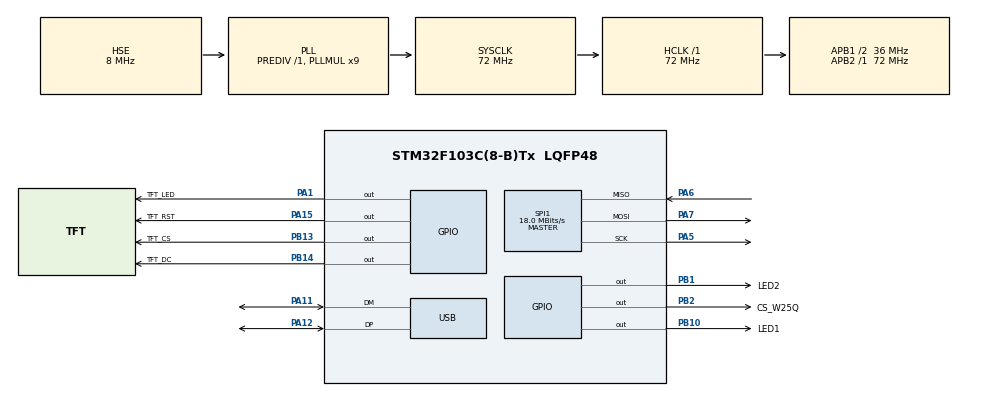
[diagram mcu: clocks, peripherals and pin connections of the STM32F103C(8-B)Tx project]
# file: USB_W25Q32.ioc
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Dma.Request0=SPI1_TX
Dma.SPI1_TX.0.Direction=DMA_MEMORY_TO_PERIPH
Dma.SPI1_TX.0.Instance=DMA1_Channel3
Dma.SPI1_TX.0.MemDataAlignment=DMA_MDATAALIGN_BYTE
Dma.SPI1_TX.0.MemInc=DMA_MINC_ENABLE
Dma.SPI1_TX.0.Mode=DMA_NORMAL
Dma.SPI1_TX.0.PeriphDataAlignment=DMA_PDATAALIGN_BYTE
Dma.SPI1_TX.0.PeriphInc=DMA_PINC_DISABLE
Dma.SPI1_TX.0.Priority=DMA_PRIORITY_LOW
Mcu.Family=STM32F1
Mcu.Name=STM32F103C(8-B)Tx
Mcu.Package=LQFP48
NVIC.DMA1_Channel3_IRQn=true\:0\:0\:false\:false\:true\:false\:true
NVIC.PriorityGroup=NVIC_PRIORITYGROUP_4
NVIC.USB_LP_CAN1_RX0_IRQn=true\:0\:0\:false\:false\:true\:false\:true
PA1.GPIO_Label=TFT_LED
PA1.Signal=GPIO_Output
PA11.Mode=Device
PA11.Signal=USB_DM
PA12.Mode=Device
PA12.Signal=USB_DP
PA13.Mode=Trace_Asynchronous_SW
PA13.Signal=SYS_JTMS-SWDIO
PA14.Mode=Trace_Asynchronous_SW
PA14.Signal=SYS_JTCK-SWCLK
PA15.GPIO_Label=TFT_RST
PA15.PinState=GPIO_PIN_SET
PA15.Signal=GPIO_Output
PA5.Mode=Full_Duplex_Master
PA5.Signal=SPI1_SCK
PA6.Mode=Full_Duplex_Master
PA6.Signal=SPI1_MISO
PA7.Mode=Full_Duplex_Master
PA7.Signal=SPI1_MOSI
PB1.GPIO_Label=LED2
PB1.PinState=GPIO_PIN_SET
PB1.Signal=GPIO_Output
PB10.GPIO_Label=LED1
PB10.PinState=GPIO_PIN_SET
PB10.Signal=GPIO_Output
PB13.GPIO_Label=TFT_CS
PB13.GPIO_PuPd=GPIO_PULLUP
PB13.GPIO_Speed=GPIO_SPEED_FREQ_HIGH
PB13.PinState=GPIO_PIN_SET
PB13.Signal=GPIO_Output
PB14.GPIO_Label=TFT_DC
PB14.GPIO_PuPd=GPIO_PULLUP
PB14.GPIO_Speed=GPIO_SPEED_FREQ_HIGH
PB14.PinState=GPIO_PIN_SET
PB14.Signal=GPIO_Output
PB2.GPIO_Label=CS_W25Q
PB2.GPIO_PuPd=GPIO_PULLUP
PB2.GPIO_Speed=GPIO_SPEED_FREQ_HIGH
PB2.PinState=GPIO_PIN_SET
PB2.Signal=GPIO_Output
PB3.Mode=Trace_Asynchronous_SW
PB3.Signal=SYS_JTDO-TRACESWO
PD0-OSC_IN.Mode=HSE-External-Oscillator
PD0-OSC_IN.Signal=RCC_OSC_IN
PD1-OSC_OUT.Mode=HSE-External-Oscillator
PD1-OSC_OUT.Signal=RCC_OSC_OUT
ProjectManager.HeapSize=0x200
ProjectManager.StackSize=0x400
ProjectManager.TargetToolchain=STM32CubeIDE
RCC.AHBFreq_Value=72000000
RCC.APB1CLKDivider=RCC_HCLK_DIV2
RCC.APB1Freq_Value=36000000
RCC.APB1TimFreq_Value=72000000
RCC.APB2Freq_Value=72000000
RCC.APB2TimFreq_Value=72000000
RCC.HCLKFreq_Value=72000000
RCC.PLLMUL=RCC_PLL_MUL9
RCC.PLLSourceVirtual=RCC_PLLSOURCE_HSE
RCC.SYSCLKFreq_VALUE=72000000
RCC.SYSCLKSource=RCC_SYSCLKSOURCE_PLLCLK
RCC.USBFreq_Value=48000000
RCC.USBPrescaler=RCC_USBCLKSOURCE_PLL_DIV1_5
SPI1.BaudRatePrescaler=SPI_BAUDRATEPRESCALER_4
SPI1.CalculateBaudRate=18.0 MBits/s
SPI1.Direction=SPI_DIRECTION_2LINES
SPI1.Mode=SPI_MODE_MASTER
SPI1.VirtualType=VM_MASTER
USB_DEVICE.CLASS_NAME_FS=MSC
USB_DEVICE.MANUFACTURER_STRING=Pav2000
USB_DEVICE.MSC_MEDIA_PACKET=512
USB_DEVICE.USBD_MAX_STR_DESC_SIZ=512
USB_DEVICE.VirtualMode=Msc
USB_DEVICE.VirtualModeFS=Msc_FS
VP_USB_DEVICE_VS_USB_DEVICE_MSC_FS.Mode=MSC_FS
board=custom

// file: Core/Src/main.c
/* USER CODE BEGIN Header */
/**
  ******************************************************************************
  * @file           : main.c
  * @brief          : Main program body
  ******************************************************************************
  * @attention
  *
  * <h2><center>&copy; Copyright (c) 2022 STMicroelectronics.
  * All rights reserved.</center></h2>
  *
  * This software component is licensed by ST under BSD 3-Clause license,
  * the "License"; You may not use this file except in compliance with the
  * License. You may obtain a copy of the License at:
  *                        opensource.org/licenses/BSD-3-Clause
  *
  ******************************************************************************
  */
/* USER CODE END Header */
#include "main.h"
#include "usb_device.h"

/* USER CODE BEGIN Includes */
#include "w25q.h"
/* USER CODE END Includes */

SPI_HandleTypeDef hspi1;
DMA_HandleTypeDef hdma_spi1_tx;
void USB_Reset(void);

void SystemClock_Config(void);
static void MX_GPIO_Init(void);
static void MX_DMA_Init(void);
static void MX_SPI1_Init(void);

/* USER CODE BEGIN 0 */
// Специальная команда для стирания сектора
void _w25qEraseSector(uint32_t sector) {
   w25qSetBlockProtect(0x00);
   sector = (sector << 4);  // Отличие

   uint8_t com = W25Q_WRITE_ENABLE;
   uint8_t temp[4] = { W25Q_SECTOR_ERASE_4, (uint8_t) (sector >> 8),
         (uint8_t) (sector & 0x00FF), 0x00 };

   W25Q_CS_LO();
   HAL_SPI_Transmit(W25Q_SPI, &com, 1, 10);
   W25Q_CS_HI();

   W25Q_CS_LO();
   HAL_SPI_Transmit(W25Q_SPI, temp, 4, 10);
   W25Q_CS_HI();

   w25qWaitForReady();

   temp[0] = W25Q_WRRITE_DISABLE;

   W25Q_CS_LO();
   HAL_SPI_Transmit(W25Q_SPI, temp, 1, 10);
   W25Q_CS_HI();

   w25qSetBlockProtect(0x0F);
}
// запись через USB - стираем сектор восстанавливаем и пишем
void w25qWritingByUSB(uint16_t dpagenum, uint8_t *bufByUSB) {

   uint8_t current_sector_buf[4096];
   uint16_t current_sector_addr = dpagenum / 8;
   uint16_t startPage = current_sector_addr * 16;
   int offset = 512 * (dpagenum % 8);

   for (uint16_t i = 0; i < 16; i++) {
      w25qReadPage(current_sector_buf + 256 * i, startPage + i);
   }

   memcpy(current_sector_buf + offset, bufByUSB, 512);

   _w25qEraseSector(current_sector_addr);

   startPage = current_sector_addr * 16;

   for (uint16_t i = 0; i < 16; i++) {
      uint8_t buf[256];
      memcpy(buf, current_sector_buf + i * 256, 256);
      w25qWritePage(buf, startPage + i);
   }
}
/* USER CODE END 0 */

int main(void)
{

  /* MCU Configuration--------------------------------------------------------*/

  /* Reset of all peripherals, Initializes the Flash interface and the Systick. */
  HAL_Init();

  /* Configure the system clock */
  SystemClock_Config();

  /* Initialize all configured peripherals */
  MX_GPIO_Init();
  MX_USB_DEVICE_Init();
  MX_DMA_Init();
  MX_SPI1_Init();
  /* USER CODE BEGIN 2 */
   ST7735_Init();          // Не забываем в кубе настроить DMA
   ST7735_Backlight_On(); // Включить подсветку дисплея
   ST7735_SetRotation(3);
   ST7735_FillScreen(ST7735_BLACK);

   ST7735_DrawString(0, STR_H*1, "Hardware version:", Font_7x10, ST7735_WHITE, ST7735_BLACK);
   ST7735_DrawString(130,STR_H*1, HARDWARE, Font_7x10, ST7735_RED, ST7735_BLACK);
   ST7735_DrawString(0, STR_H*2, "Program version:", Font_7x10, ST7735_WHITE, ST7735_BLACK);
   ST7735_DrawString(130, STR_H*2, VERSION, Font_7x10, ST7735_RED, ST7735_BLACK);

   ST7735_DrawString(0, STR_H*4, "USB Mass Storage Class", Font_7x10, ST7735_WHITE, ST7735_BLACK);
   ST7735_DrawString(0, STR_H*5, "Flash chip w25q32 4MB", Font_7x10, ST7735_WHITE, ST7735_BLACK);
   ST7735_DrawString(0, STR_H*6, "LED1 - write flash", Font_7x10, ST7735_WHITE, ST7735_BLACK);
   ST7735_DrawString(0, STR_H*7, "LED2 - read flash", Font_7x10, ST7735_WHITE, ST7735_BLACK);

  HAL_GPIO_WritePin(GPIOB, LED1_Pin, GPIO_PIN_SET);  // 1 выключение светодиода
  HAL_GPIO_WritePin(GPIOB, LED2_Pin, GPIO_PIN_SET);  // 1 выключение светодиода
  /* USER CODE END 2 */

  /* Infinite loop */
  while (1)
  {

  }
}

void SystemClock_Config(void)
{
  RCC_OscInitTypeDef RCC_OscInitStruct = {0};
  RCC_ClkInitTypeDef RCC_ClkInitStruct = {0};
  RCC_PeriphCLKInitTypeDef PeriphClkInit = {0};

  /** Initializes the RCC Oscillators according to the specified parameters
  * in the RCC_OscInitTypeDef structure.
  */
  RCC_OscInitStruct.OscillatorType = RCC_OSCILLATORTYPE_HSE;
  RCC_OscInitStruct.HSEState = RCC_HSE_ON;
  RCC_OscInitStruct.HSEPredivValue = RCC_HSE_PREDIV_DIV1;
  RCC_OscInitStruct.HSIState = RCC_HSI_ON;
  RCC_OscInitStruct.PLL.PLLState = RCC_PLL_ON;
  RCC_OscInitStruct.PLL.PLLSource = RCC_PLLSOURCE_HSE;
  RCC_OscInitStruct.PLL.PLLMUL = RCC_PLL_MUL9;
  if (HAL_RCC_OscConfig(&RCC_OscInitStruct) != HAL_OK)
  {
    Error_Handler();
  }
  /** Initializes the CPU, AHB and APB buses clocks
  */
  RCC_ClkInitStruct.ClockType = RCC_CLOCKTYPE_HCLK|RCC_CLOCKTYPE_SYSCLK
                              |RCC_CLOCKTYPE_PCLK1|RCC_CLOCKTYPE_PCLK2;
  RCC_ClkInitStruct.SYSCLKSource = RCC_SYSCLKSOURCE_PLLCLK;
  RCC_ClkInitStruct.AHBCLKDivider = RCC_SYSCLK_DIV1;
  RCC_ClkInitStruct.APB1CLKDivider = RCC_HCLK_DIV2;
  RCC_ClkInitStruct.APB2CLKDivider = RCC_HCLK_DIV1;

  if (HAL_RCC_ClockConfig(&RCC_ClkInitStruct, FLASH_LATENCY_2) != HAL_OK)
  {
    Error_Handler();
  }
  PeriphClkInit.PeriphClockSelection = RCC_PERIPHCLK_USB;
  PeriphClkInit.UsbClockSelection = RCC_USBCLKSOURCE_PLL_DIV1_5;
  if (HAL_RCCEx_PeriphCLKConfig(&PeriphClkInit) != HAL_OK)
  {
    Error_Handler();
  }
}

static void MX_SPI1_Init(void)
{

  /* SPI1 parameter configuration*/
  hspi1.Instance = SPI1;
  hspi1.Init.Mode = SPI_MODE_MASTER;
  hspi1.Init.Direction = SPI_DIRECTION_2LINES;
  hspi1.Init.DataSize = SPI_DATASIZE_8BIT;
  hspi1.Init.CLKPolarity = SPI_POLARITY_LOW;
  hspi1.Init.CLKPhase = SPI_PHASE_1EDGE;
  hspi1.Init.NSS = SPI_NSS_SOFT;
  hspi1.Init.BaudRatePrescaler = SPI_BAUDRATEPRESCALER_4;
  hspi1.Init.FirstBit = SPI_FIRSTBIT_MSB;
  hspi1.Init.TIMode = SPI_TIMODE_DISABLE;
  hspi1.Init.CRCCalculation = SPI_CRCCALCULATION_DISABLE;
  hspi1.Init.CRCPolynomial = 10;
  if (HAL_SPI_Init(&hspi1) != HAL_OK)
  {
    Error_Handler();
  }

}

static void MX_DMA_Init(void)
{

  /* DMA controller clock enable */
  __HAL_RCC_DMA1_CLK_ENABLE();

  /* DMA interrupt init */
  /* DMA1_Channel3_IRQn interrupt configuration */
  HAL_NVIC_SetPriority(DMA1_Channel3_IRQn, 0, 0);
  HAL_NVIC_EnableIRQ(DMA1_Channel3_IRQn);

}

static void MX_GPIO_Init(void)
{
  GPIO_InitTypeDef GPIO_InitStruct = {0};

  /* GPIO Ports Clock Enable */
  __HAL_RCC_GPIOD_CLK_ENABLE();
  __HAL_RCC_GPIOA_CLK_ENABLE();
  __HAL_RCC_GPIOB_CLK_ENABLE();
  USB_Reset();

  /*Configure GPIO pin Output Level */
  HAL_GPIO_WritePin(TFT_LED_GPIO_Port, TFT_LED_Pin, GPIO_PIN_RESET);

  /*Configure GPIO pin Output Level */
  HAL_GPIO_WritePin(GPIOB, LED2_Pin|CS_W25Q_Pin|LED1_Pin|TFT_CS_Pin
                          |TFT_DC_Pin, GPIO_PIN_SET);

  /*Configure GPIO pin Output Level */
  HAL_GPIO_WritePin(TFT_RST_GPIO_Port, TFT_RST_Pin, GPIO_PIN_SET);

  /*Configure GPIO pins : TFT_LED_Pin TFT_RST_Pin */
  GPIO_InitStruct.Pin = TFT_LED_Pin|TFT_RST_Pin;
  GPIO_InitStruct.Mode = GPIO_MODE_OUTPUT_PP;
  GPIO_InitStruct.Pull = GPIO_NOPULL;
  GPIO_InitStruct.Speed = GPIO_SPEED_FREQ_LOW;
  HAL_GPIO_Init(GPIOA, &GPIO_InitStruct);

  /*Configure GPIO pins : LED2_Pin LED1_Pin */
  GPIO_InitStruct.Pin = LED2_Pin|LED1_Pin;
  GPIO_InitStruct.Mode = GPIO_MODE_OUTPUT_PP;
  GPIO_InitStruct.Pull = GPIO_NOPULL;
  GPIO_InitStruct.Speed = GPIO_SPEED_FREQ_LOW;
  HAL_GPIO_Init(GPIOB, &GPIO_InitStruct);

  /*Configure GPIO pins : CS_W25Q_Pin TFT_CS_Pin TFT_DC_Pin */
  GPIO_InitStruct.Pin = CS_W25Q_Pin|TFT_CS_Pin|TFT_DC_Pin;
  GPIO_InitStruct.Mode = GPIO_MODE_OUTPUT_PP;
  GPIO_InitStruct.Pull = GPIO_PULLUP;
  GPIO_InitStruct.Speed = GPIO_SPEED_FREQ_HIGH;
  HAL_GPIO_Init(GPIOB, &GPIO_InitStruct);

}

/* USER CODE BEGIN 4 */
// После перегенерации в Кубе добавить USB_Reset(); в функцию MX_GPIO_Init(void) (после ...CLK_ENABLE(); )
void USB_Reset(void)
{

	 GPIO_InitTypeDef GPIO_InitStruct = {0};

	 // инициализируем пин DP как выход
	 GPIO_InitStruct.Pin = GPIO_PIN_12;
	 GPIO_InitStruct.Mode = GPIO_MODE_OUTPUT_PP;
	 GPIO_InitStruct.Speed = GPIO_SPEED_FREQ_LOW;
	 HAL_GPIO_Init(GPIOA, &GPIO_InitStruct);
	 HAL_GPIO_WritePin(GPIOA, GPIO_PIN_12, GPIO_PIN_RESET); // прижимаем DP к "земле"
	 for(uint16_t i = 0; i < 2000; i++) {}; // немного ждём

	 // переинициализируем пин для работы с USB
	 GPIO_InitStruct.Mode = GPIO_MODE_INPUT;
	 GPIO_InitStruct.Pull = GPIO_NOPULL;
	 HAL_GPIO_Init(GPIOA, &GPIO_InitStruct);
	 for(uint16_t i = 0; i < 2000; i++) {}; // немного ждём
}
/* USER CODE END 4 */

void Error_Handler(void)
{
  /* USER CODE BEGIN Error_Handler_Debug */
  /* User can add his own implementation to report the HAL error return state */
  __disable_irq(); USB_Reset();
  while (1)
  {
  }
  /* USER CODE END Error_Handler_Debug */
}

/************************ (C) COPYRIGHT STMicroelectronics *****END OF FILE****/
